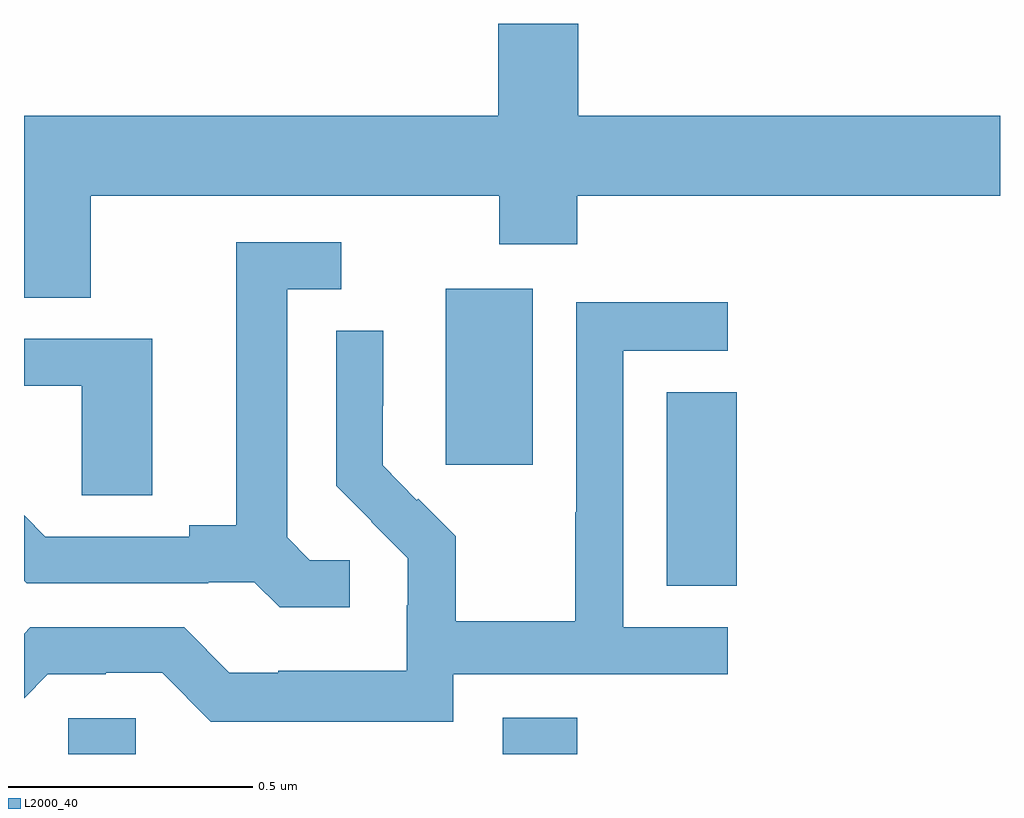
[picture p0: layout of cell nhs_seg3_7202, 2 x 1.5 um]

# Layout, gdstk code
import gdstk
lib = gdstk.Library(unit=1e-6, precision=1e-09)
def R(c, l, rs):  # rectangles x0, y0, x1, y1
    for r in rs: c.add(gdstk.rectangle(r[:2], r[2:], *l))
def P(c, l, *ps):  # polygons
    for p in ps: c.add(gdstk.Polygon(p, *l))
L2000_40 = (2000, 40)

nhs_seg3_7202 = lib.new_cell('nhs_seg3_7202')
R(nhs_seg3_7202, L2000_40, [(200.091,738.4,200.229,738.474), (200.981,738.4,201.134,738.475), (201.317,738.745,201.461,739.142), (200.864,738.993,201.043,739.354)])
P(nhs_seg3_7202, L2000_40, [(200.137,739.544),(200.974,739.544),(200.974,739.445),(201.134,739.445),(201.134,739.544),(202,739.544),(202,739.708),(201.136,739.708),(201.136,739.897),(200.972,739.897),(200.972,739.708),(200,739.708),(200,739.336),(200.137,739.336)],
  [(200.668,738.798),(200.586,738.798),(200.539,738.845),(200.539,739.353),(200.65,739.353),(200.65,739.449),(200.435,739.449),(200.435,738.869),(200.339,738.869),(200.339,738.846),(200.044,738.846),(200,738.89),(200,738.756),(200.006,738.75),(200.378,738.75),(200.378,738.753),(200.472,738.753),(200.524,738.701),(200.668,738.701)],
  [(200.88,738.564),(201.442,738.564),(201.442,738.66),(201.228,738.66),(201.228,739.227),(201.442,739.227),(201.442,739.326),(201.132,739.326),(201.132,738.896),(201.13,738.896),(201.13,738.673),(200.885,738.673),(200.885,738.847),(200.808,738.924),(200.805,738.921),(200.735,738.992),(200.735,739.114),(200.736,739.114),(200.736,739.268),(200.64,739.268),(200.64,738.95),(200.713,738.877),(200.712,738.876),(200.786,738.802),(200.786,738.705),(200.784,738.705),(200.784,738.571),(200.521,738.571),(200.521,738.567),(200.421,738.567),(200.328,738.66),(200.013,738.66),(200,738.647),(200,738.515),(200.049,738.564),(200.168,738.564),(200.168,738.567),(200.283,738.567),(200.383,738.467),(200.88,738.467)],
  [(200.263,739.251),(200,739.251),(200,739.155),(200.118,739.155),(200.118,738.931),(200.263,738.931)])

lib.write_gds('nhs_seg3_7202.gds')
